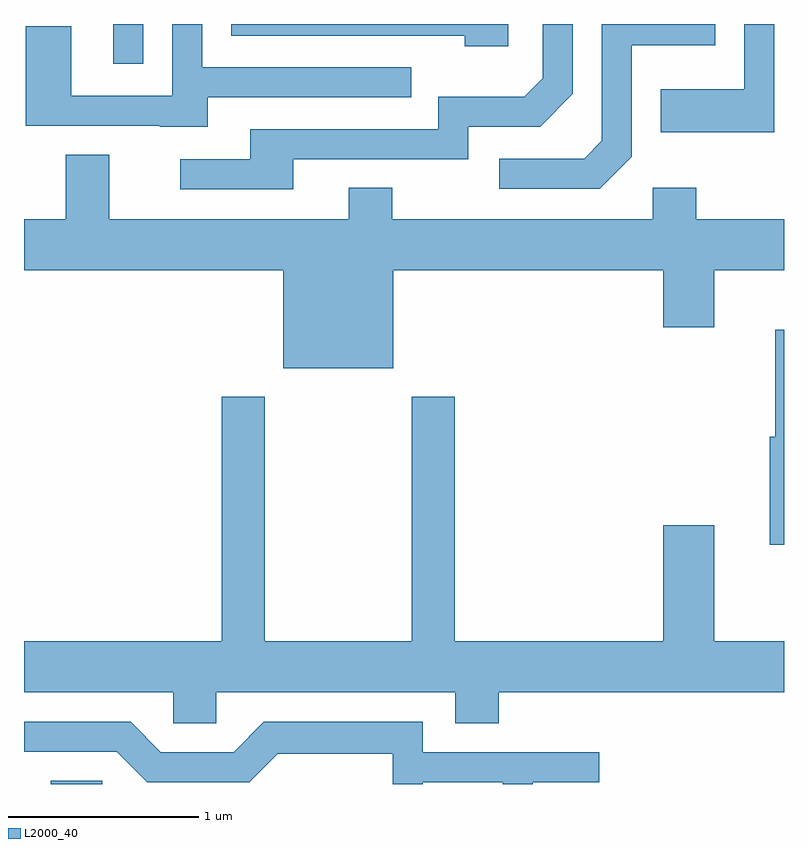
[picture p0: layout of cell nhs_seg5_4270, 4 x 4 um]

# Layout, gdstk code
import gdstk
lib = gdstk.Library(unit=1e-6, precision=1e-09)
def R(c, l, rs):  # rectangles x0, y0, x1, y1
    for r in rs: c.add(gdstk.rectangle(r[:2], r[2:], *l))
def P(c, l, *ps):  # polygons
    for p in ps: c.add(gdstk.Polygon(p, *l))
L2000_40 = (2000, 40)

nhs_seg5_4270 = lib.new_cell('nhs_seg5_4270')
R(nhs_seg5_4270, L2000_40, [(311.751,1474.072,312.023,1474.089), (312.081,1477.863,312.239,1478.072)])
P(nhs_seg5_4270, L2000_40, [(312.579,1477.686),(313.648,1477.686),(313.648,1477.844),(312.549,1477.844),(312.549,1478.072),(312.391,1478.072),(312.391,1477.694),(311.859,1477.694),(311.859,1478.059),(311.621,1478.059),(311.621,1477.536),(312.325,1477.536),(312.325,1477.531),(312.579,1477.531)],
  [(313.029,1477.361),(313.949,1477.361),(313.949,1477.531),(314.327,1477.531),(314.499,1477.704),(314.499,1478.072),(314.341,1478.072),(314.341,1477.787),(314.244,1477.689),(313.791,1477.689),(313.791,1477.519),(312.801,1477.519),(312.801,1477.359),(312.433,1477.359),(312.433,1477.201),(313.029,1477.201)],
  [(315.559,1478.072),(315.401,1478.072),(315.401,1477.729),(314.961,1477.729),(314.961,1477.501),(315.559,1477.501)],
  [(314.809,1477.374),(314.809,1477.961),(315.249,1477.961),(315.249,1478.072),(314.651,1478.072),(314.651,1477.457),(314.559,1477.364),(314.113,1477.364),(314.113,1477.206),(314.642,1477.206)],
  [(314.159,1478.072),(312.701,1478.072),(312.701,1478.011),(313.931,1478.011),(313.931,1477.956),(314.159,1477.956)],
  [(313.554,1476.776),(314.976,1476.776),(314.976,1476.476),(315.244,1476.476),(315.244,1476.776),(315.611,1476.776),(315.611,1477.044),(315.149,1477.044),(315.149,1477.209),(314.921,1477.209),(314.921,1477.044),(313.549,1477.044),(313.549,1477.209),(313.321,1477.209),(313.321,1477.044),(312.059,1477.044),(312.059,1477.384),(311.831,1477.384),(311.831,1477.044),(311.611,1477.044),(311.611,1476.776),(312.976,1476.776),(312.976,1476.261),(313.554,1476.261)],
  [(315.611,1476.464),(315.566,1476.464),(315.566,1475.899),(315.536,1475.899),(315.536,1475.331),(315.611,1475.331)],
  [(312.624,1474.556),(313.881,1474.556),(313.881,1474.391),(314.109,1474.391),(314.109,1474.556),(315.611,1474.556),(315.611,1474.824),(315.244,1474.824),(315.244,1475.434),(314.976,1475.434),(314.976,1474.824),(313.879,1474.824),(313.879,1476.109),(313.651,1476.109),(313.651,1474.824),(312.879,1474.824),(312.879,1476.109),(312.651,1476.109),(312.651,1474.824),(311.611,1474.824),(311.611,1474.556),(312.396,1474.556),(312.396,1474.391),(312.624,1474.391)],
  [(313.709,1474.081),(314.131,1474.081),(314.131,1474.072),(314.289,1474.072),(314.289,1474.081),(314.638,1474.081),(314.638,1474.239),(313.709,1474.239),(313.709,1474.399),(312.874,1474.399),(312.714,1474.239),(312.332,1474.239),(312.172,1474.399),(311.611,1474.399),(311.611,1474.241),(312.099,1474.241),(312.259,1474.081),(312.797,1474.081),(312.947,1474.231),(313.551,1474.231),(313.551,1474.072),(313.709,1474.072)])

lib.write_gds('nhs_seg5_4270.gds')
